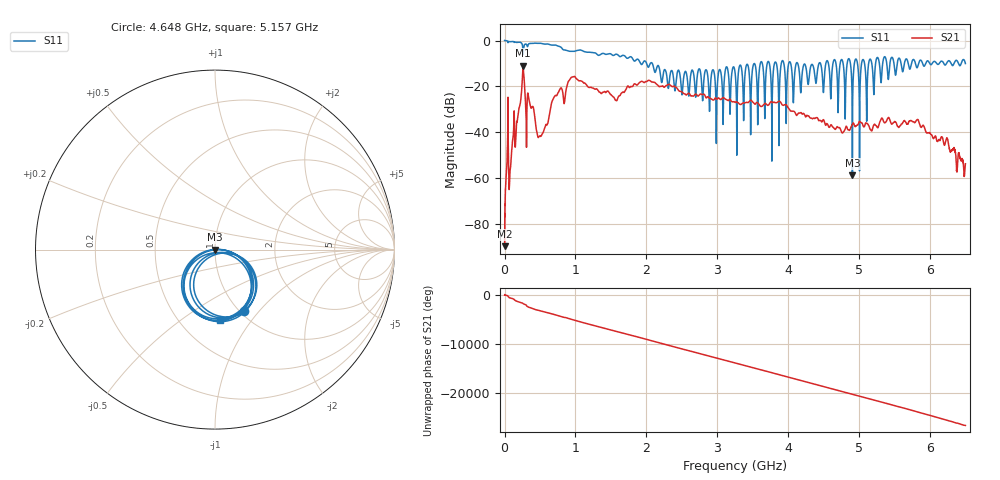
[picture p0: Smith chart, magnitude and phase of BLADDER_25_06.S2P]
!Keysight Technologies,E5063A,MY54503115,A.05.08
!Date: Sun Feb 04 18:24:11 2024
!Data & Calibration Information:
!Freq	S11:NONE(--)	S21:NONE(--)	S12:NONE(--)	S22:NONE(--)
# Hz S dB R 50
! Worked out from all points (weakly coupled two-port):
!   10001 points, 100 kHz to 6.5 GHz, reference 50 ohm
!   highest |S21| = -10.89 dB at 260.7 MHz (marker M1); lowest = -89.6 dB at 100 kHz (marker M2)
!   lowest |S11| = -58.8 dB at 4.906 GHz (marker M3), VSWR 1.00, Z = 50 - j0.106 ohm
!   |S11| at or under -10 dB: 2.084 GHz to 3.607 GHz (1.523 GHz wide, 53.5 % of centre); 4.036 GHz to 4.113 GHz (77.5 MHz wide, 1.9 % of centre); 4.135 GHz to 4.434 GHz (299.4 MHz wide, 6.99 % of centre) (the widest 3 of 30)
!   S12 and S22 are empty: the file has one direction only
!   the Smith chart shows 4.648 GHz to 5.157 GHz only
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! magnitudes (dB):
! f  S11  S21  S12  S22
! 100 kHz  0.0  -89.6  -  -
! 35.2 MHz  -0.2  -51.4  -  -
! 87.85 MHz  -0.5  -53.8  -  -
! 260.7 MHz  -6.0  -10.9  -  -
! 494.1 MHz  -1.2  -41.5  -  -
! 774.2 MHz  -2.6  -21.6  -  -
! 1.084 GHz  -4.2  -17.6  -  -
! 1.568 GHz  -5.9  -26.1  -  -
! 2.167 GHz  -10.9  -19.7  -  -
! 3.25 GHz  -13.7  -26.9  -  -
! 4.334 GHz  -10.4  -33.9  -  -
! 4.804 GHz  -34.2  -38.5  -  -
! 4.856 GHz  -7.9  -39.0  -  -
! 4.906 GHz  -58.8  -36.5  -  -
! 4.956 GHz  -8.0  -37.3  -  -
! 5.006 GHz  -35.1  -35.2  -  -
! 5.056 GHz  -8.3  -37.1  -  -
! 5.104 GHz  -26.9  -36.1  -  -
! 5.157 GHz  -8.1  -38.7  -  -
! 5.417 GHz  -16.2  -33.5  -  -
! 5.827 GHz  -11.4  -34.4  -  -
! 6.5 GHz  -10.0  -53.7  -  -
